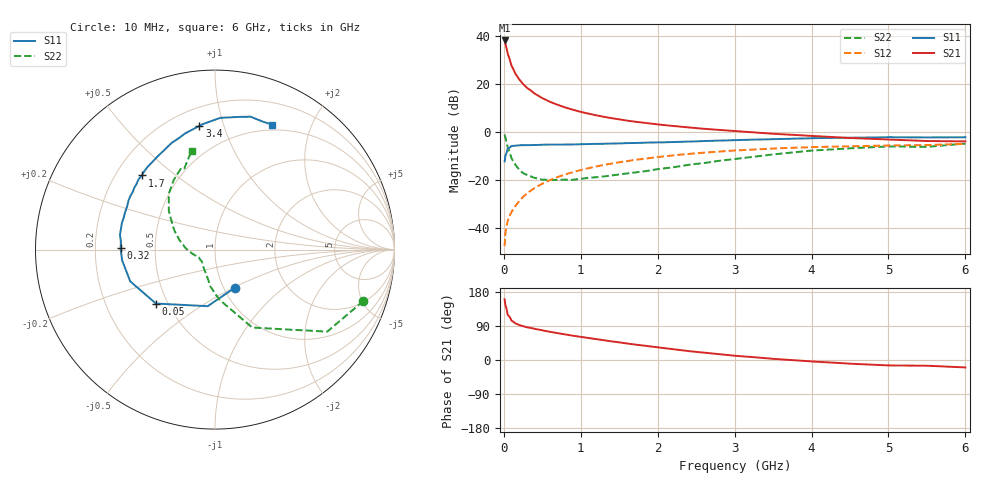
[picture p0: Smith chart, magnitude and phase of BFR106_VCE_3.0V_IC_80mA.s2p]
! Infineon Technologies  Discrete & RF Semiconductors
! BFR106
! VCE =  3.0 V,  IC =  80 mA
! Common Emitter S-Parameters:  Nov 2015
# GHz  S  MA  R  50
!  f  S11  S21  S12  S22
! GHz  MAG  ANG  MAG  ANG  MAG  ANG  MAG  ANG
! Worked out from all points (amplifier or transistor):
!   210 points, 10 MHz to 6 GHz, reference 50 ohm
!   highest |S21| = 38.1 dB at 10 MHz (marker M1)
!   |S21| within 3 dB of that: start of sweep to 32.67 MHz
!   unconditionally stable (mu >= 1): 188.2 MHz to 2.551 GHz; 5.343 GHz to end of sweep
!   at 185 MHz: K = 1.00, MSG = 26.1 dB, |S12| = -29.5 dB
!   at 1.52 GHz: K = 1.05, MAG = 7.4 dB, |S12| = -12.6 dB
!   at 6 GHz: K = 1.00, MAG = 0.4 dB, |S12| = -5.1 dB
!   S11 on the Smith chart (normalised r, x): 10 MHz: 1.13, -0.51; 50 MHz: 0.43, -0.32; 320 MHz: 0.31, +0.01; 1.7 GHz: 0.31, +0.38; 3.4 GHz: 0.31, +0.83; 6 GHz: 0.43, +1.47
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0.01  0.2397 -62.7  79.96 160.2  0.0041 78.1  0.8749 -19.1
0.02  0.3179 -97.4  69.32 144.7  0.0076 69.1  0.7744 -36.2
0.05  0.4457 -137.6  42.14 119.2  0.0137 61.3  0.4809 -64.5
0.1  0.5044 -159.5  23.7 103.7  0.0212 64.2  0.2778 -85.4
0.15  0.511 -168.4  16.17 96.5  0.0281 68.2  0.2033 -98.0
0.2  0.521 -173.5  12.3 92.2  0.0357 70.9  0.161 -104.9
0.26  0.523 -178.1  9.531 88.4  0.0451 72.5  0.1344 -114.4
0.3  0.5253 179.8  8.243 86.4  0.0514 73.2  0.1256 -118.7
0.32  0.5253 178.8  7.839 85.7  0.0545 73.3  0.122 -120.5
0.4  0.5272 174.6  6.235 82.2  0.0668 73.5  0.109 -128.7
0.5  0.536 171.0  5.005 78.1  0.0823 73.2  0.1001 -135.8
0.6  0.537 167.2  4.196 74.2  0.0979 72.1  0.0984 -140.3
0.8  0.5388 161.0  3.187 67.3  0.1286 69.6  0.0999 -150.2
1.02  0.5467 153.4  2.544 60.3  0.1616 66.8  0.1048 -156.3
1.3  0.5594 145.1  2.043 51.9  0.2028 62.3  0.1164 -165.0
1.7  0.5806 134.6  1.618 40.8  0.2574 55.9  0.1404 -176.1
2.02  0.5979 126.7  1.408 32.7  0.2987 50.6  0.1674 175.9
3.1  0.674 102.6  1.003 9.8  0.4132 33.0  0.2814 148.2
3.4  0.6946 97.2  0.929 4.9  0.4386 28.4  0.3216 141.8
4.1  0.7364 86.3  0.8 -4.9  0.4816 18.0  0.4125 127.6
5.1  0.7648 73.9  0.679 -14.5  0.5177 5.9  0.4904 112.1
6  0.7658 65.5  0.628 -19.6  0.5576 -3.4  0.5646 103.4
